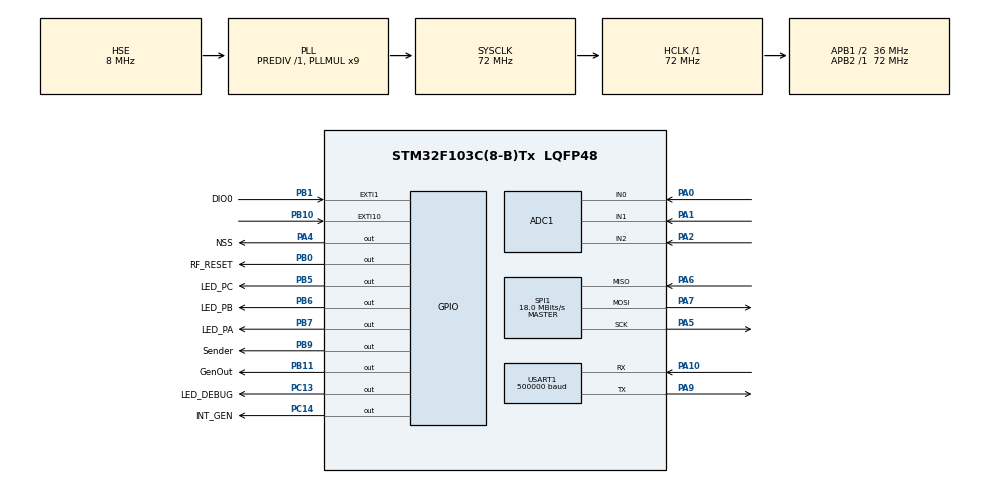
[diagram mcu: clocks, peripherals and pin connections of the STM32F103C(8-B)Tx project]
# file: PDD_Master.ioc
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ADC1.Channel-1\#ChannelRegularConversion=ADC_CHANNEL_0
ADC1.Channel-2\#ChannelRegularConversion=ADC_CHANNEL_1
ADC1.Channel-3\#ChannelRegularConversion=ADC_CHANNEL_2
ADC1.ContinuousConvMode=ENABLE
ADC1.NbrOfConversion=3
ADC1.NbrOfConversionFlag=1
ADC1.Rank-1\#ChannelRegularConversion=1
ADC1.Rank-2\#ChannelRegularConversion=2
ADC1.Rank-3\#ChannelRegularConversion=3
ADC1.SamplingTime-1\#ChannelRegularConversion=ADC_SAMPLETIME_55CYCLES_5
ADC1.SamplingTime-2\#ChannelRegularConversion=ADC_SAMPLETIME_55CYCLES_5
ADC1.SamplingTime-3\#ChannelRegularConversion=ADC_SAMPLETIME_55CYCLES_5
ADC1.master=1
Dma.ADC1.0.Direction=DMA_PERIPH_TO_MEMORY
Dma.ADC1.0.Instance=DMA1_Channel1
Dma.ADC1.0.MemDataAlignment=DMA_MDATAALIGN_HALFWORD
Dma.ADC1.0.MemInc=DMA_MINC_ENABLE
Dma.ADC1.0.Mode=DMA_CIRCULAR
Dma.ADC1.0.PeriphDataAlignment=DMA_PDATAALIGN_HALFWORD
Dma.ADC1.0.PeriphInc=DMA_PINC_DISABLE
Dma.ADC1.0.Priority=DMA_PRIORITY_LOW
Dma.Request0=ADC1
Dma.Request1=USART1_TX
Dma.USART1_TX.1.Direction=DMA_MEMORY_TO_PERIPH
Dma.USART1_TX.1.Instance=DMA1_Channel4
Dma.USART1_TX.1.MemDataAlignment=DMA_MDATAALIGN_BYTE
Dma.USART1_TX.1.MemInc=DMA_MINC_ENABLE
Dma.USART1_TX.1.Mode=DMA_NORMAL
Dma.USART1_TX.1.PeriphDataAlignment=DMA_PDATAALIGN_BYTE
Dma.USART1_TX.1.PeriphInc=DMA_PINC_DISABLE
Dma.USART1_TX.1.Priority=DMA_PRIORITY_LOW
Mcu.Family=STM32F1
Mcu.Name=STM32F103C(8-B)Tx
Mcu.Package=LQFP48
NVIC.DMA1_Channel1_IRQn=true\:0\:0\:false\:false\:true\:false\:true\:true
NVIC.DMA1_Channel4_IRQn=true\:0\:0\:false\:false\:true\:false\:true\:true
NVIC.EXTI15_10_IRQn=true\:0\:0\:false\:false\:true\:true\:true\:true
NVIC.EXTI1_IRQn=true\:0\:0\:false\:false\:true\:true\:true\:true
NVIC.PriorityGroup=NVIC_PRIORITYGROUP_4
NVIC.TIM1_UP_IRQn=true\:0\:0\:true\:false\:true\:true\:true\:true
NVIC.TIM3_IRQn=true\:1\:0\:true\:false\:true\:true\:true\:true
PA0-WKUP.Signal=ADCx_IN0
PA1.Signal=ADCx_IN1
PA10.Mode=Asynchronous
PA10.Signal=USART1_RX
PA13.Mode=Serial_Wire
PA13.Signal=SYS_JTMS-SWDIO
PA14.Mode=Serial_Wire
PA14.Signal=SYS_JTCK-SWCLK
PA2.Signal=ADCx_IN2
PA4.GPIO_Label=NSS
PA4.Signal=GPIO_Output
PA5.Mode=Full_Duplex_Master
PA5.Signal=SPI1_SCK
PA6.Mode=Full_Duplex_Master
PA6.Signal=SPI1_MISO
PA7.Mode=Full_Duplex_Master
PA7.Signal=SPI1_MOSI
PA9.Mode=Asynchronous
PA9.Signal=USART1_TX
PB0.GPIO_Label=RF_RESET
PB0.Signal=GPIO_Output
PB1.GPIO_Label=DIO0
PB1.GPIO_PuPd=GPIO_PULLDOWN
PB1.Signal=GPXTI1
PB10.GPIO_PuPd=GPIO_PULLDOWN
PB10.Signal=GPXTI10
PB11.GPIO_Label=GenOut
PB11.Signal=GPIO_Output
PB5.GPIO_Label=LED_PC
PB5.Signal=GPIO_Output
PB6.GPIO_Label=LED_PB
PB6.Signal=GPIO_Output
PB7.GPIO_Label=LED_PA
PB7.Signal=GPIO_Output
PB9.GPIO_Label=Sender
PB9.Signal=GPIO_Output
PC13-TAMPER-RTC.GPIO_Label=LED_DEBUG
PC13-TAMPER-RTC.Signal=GPIO_Output
PC14-OSC32_IN.GPIO_Label=INT_GEN
PC14-OSC32_IN.Signal=GPIO_Output
PD0-OSC_IN.Mode=HSE-External-Oscillator
PD0-OSC_IN.Signal=RCC_OSC_IN
PD1-OSC_OUT.Mode=HSE-External-Oscillator
PD1-OSC_OUT.Signal=RCC_OSC_OUT
ProjectManager.HeapSize=0x200
ProjectManager.StackSize=0x400
ProjectManager.TargetToolchain=MDK-ARM V5.32
RCC.ADCPresc=RCC_ADCPCLK2_DIV6
RCC.AHBFreq_Value=72000000
RCC.APB1CLKDivider=RCC_HCLK_DIV2
RCC.APB1Freq_Value=36000000
RCC.APB1TimFreq_Value=72000000
RCC.APB2Freq_Value=72000000
RCC.APB2TimFreq_Value=72000000
RCC.HCLKFreq_Value=72000000
RCC.PLLMUL=RCC_PLL_MUL9
RCC.PLLSourceVirtual=RCC_PLLSOURCE_HSE
RCC.SYSCLKFreq_VALUE=72000000
RCC.SYSCLKSource=RCC_SYSCLKSOURCE_PLLCLK
RCC.USBFreq_Value=72000000
SH.ADCx_IN0.0=ADC1_IN0,IN0
SH.ADCx_IN1.0=ADC1_IN1,IN1
SH.ADCx_IN2.0=ADC1_IN2,IN2
SPI1.BaudRatePrescaler=SPI_BAUDRATEPRESCALER_4
SPI1.CalculateBaudRate=18.0 MBits/s
SPI1.Direction=SPI_DIRECTION_2LINES
SPI1.Mode=SPI_MODE_MASTER
SPI1.VirtualType=VM_MASTER
TIM1.AutoReloadPreload=TIM_AUTORELOAD_PRELOAD_ENABLE
TIM1.Period=49
TIM1.Prescaler=71
TIM3.Prescaler=71
USART1.BaudRate=500000
USART1.VirtualMode=VM_ASYNC
VP_TIM1_VS_ClockSourceINT.Mode=Internal
VP_TIM3_VS_ClockSourceINT.Mode=Internal
board=custom

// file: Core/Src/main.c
/* USER CODE BEGIN Header */
/**
  ******************************************************************************
  * @file           : main.c
  * @brief          : Main program body
  ******************************************************************************
  * @attention
  *
  * Copyright (c) 2026 STMicroelectronics.
  * All rights reserved.
  *
  * This software is licensed under terms that can be found in the LICENSE file
  * in the root directory of this software component.
  * If no LICENSE file comes with this software, it is provided AS-IS.
  *
  ******************************************************************************
  */
/* USER CODE END Header */
#include "main.h"

/* USER CODE BEGIN Includes */

#include "LoRa.h"
#include <string.h>

#include <stdio.h>

/* USER CODE END Includes */

/* USER CODE BEGIN PD */

#define ON_LED_DEBUG( )	HAL_GPIO_WritePin(LED_DEBUG_GPIO_Port, LED_DEBUG_Pin, GPIO_PIN_RESET)
#define OFF_LED_DEBUG( )	HAL_GPIO_WritePin(LED_DEBUG_GPIO_Port, LED_DEBUG_Pin, GPIO_PIN_SET)

#define ON_LED_PA( )	HAL_GPIO_WritePin(LED_PA_GPIO_Port, LED_PA_Pin, GPIO_PIN_SET);
#define OFF_LED_PA( )	HAL_GPIO_WritePin(LED_PA_GPIO_Port, LED_PA_Pin, GPIO_PIN_RESET);

#define ON_LED_PB( )	HAL_GPIO_WritePin(LED_PB_GPIO_Port, LED_PB_Pin, GPIO_PIN_SET);
#define OFF_LED_PB( )	HAL_GPIO_WritePin(LED_PB_GPIO_Port, LED_PB_Pin, GPIO_PIN_RESET);

#define ON_LED_PC( )	HAL_GPIO_WritePin(LED_PC_GPIO_Port, LED_PC_Pin, GPIO_PIN_SET);
#define OFF_LED_PC( )	HAL_GPIO_WritePin(LED_PC_GPIO_Port, LED_PC_Pin, GPIO_PIN_RESET);

#define MA_SIZE 5

#define ZERO_PA 1972
#define ZERO_PB 1973
#define ZERO_PC 1970

typedef struct
{
    uint16_t buf[MA_SIZE];
    uint32_t sum;
    uint8_t index;
} MA_Filter_t;

/* USER CODE END PD */

ADC_HandleTypeDef hadc1;
DMA_HandleTypeDef hdma_adc1;

SPI_HandleTypeDef hspi1;

TIM_HandleTypeDef htim1;
TIM_HandleTypeDef htim3;

UART_HandleTypeDef huart1;
DMA_HandleTypeDef hdma_usart1_tx;

/* USER CODE BEGIN PV */

uint32_t tick = 0;
volatile uint32_t cnt_timetick = 0;

LoRa vLoRa;

uint8_t TX_Lora_buff[12];
uint8_t RX_LoRa_buff[12];

uint8_t send_ok = 0;
uint16_t num_RX_irq_LoRa = 0;
uint8_t flag_Lora_Rx = 0;

uint16_t config_lora = 0xFA;

uint8_t cnt = 0;

uint16_t sendOK = 0;
uint16_t recOK = 0;

uint32_t cycle = 40000;

volatile uint32_t last_zcA = 0;
volatile uint32_t now_zcA = 0;
volatile uint32_t interval_zcA = 0;

volatile uint32_t last_zcB = 0;
volatile uint32_t now_zcB = 0;
volatile uint32_t interval_zcB = 0;

volatile uint32_t last_zcC = 0;
volatile uint32_t now_zcC = 0;
volatile uint32_t interval_zcC = 0;

uint16_t delta_pB = 0, delta_pC = 0;

		// uint8_t phase_detected = 0;

volatile uint8_t flag_cnt_50us = 0;
volatile uint8_t flag_enable_zc = 0;

// sender
volatile uint8_t trigger_send_lora = 0;

volatile uint16_t adc_raw[3];

volatile uint16_t adc_filtered_pA = 0;
  volatile uint16_t adc_filtered_pB = 0;
    volatile uint16_t adc_filtered_pC = 0;

volatile uint16_t pA_cur = 0;
volatile uint16_t pA_prev = 0;
  volatile uint16_t pB_cur = 0;
  volatile uint16_t pB_prev = 0;
    volatile uint16_t pC_cur = 0;
    volatile uint16_t pC_prev = 0;

volatile uint32_t ovf_tim3 = 0;

uint8_t flag_tx_log = 0;
uint32_t cnt_log = 0;

char uart_tx_log[100];

uint32_t stt = 0;

uint16_t log_buff[1000];
uint16_t log_index = 0;

volatile uint8_t flag_get_zero = 0;
uint16_t offset_ZpA = 0;
  uint16_t offset_ZpB = 0;
    uint16_t offset_ZpC = 0;

MA_Filter_t adcFilter_pA;
  MA_Filter_t adcFilter_pB;
    MA_Filter_t adcFilter_pC;

	uint16_t cnt_detect_pA = 1;
		uint16_t cnt_detect_pB = 1;
	    uint16_t cnt_detect_pC = 1;

uint32_t last_send = 0;
uint32_t now_send = 0;
uint32_t interval_send = 0;
uint32_t interval_send_mod = 0;
uint32_t interval_send_div = 0;

/* USER CODE END PV */

void SystemClock_Config(void);
static void MX_GPIO_Init(void);
static void MX_DMA_Init(void);
static void MX_TIM1_Init(void);
static void MX_USART1_UART_Init(void);
static void MX_ADC1_Init(void);
static void MX_SPI1_Init(void);
static void MX_TIM3_Init(void);

/* USER CODE BEGIN 0 */
uint16_t MA_Update(MA_Filter_t *f, uint16_t sample)
{
    f->sum -= f->buf[f->index];
    f->buf[f->index] = sample;
    f->sum += sample;
    f->index++;

    if(f->index >= MA_SIZE)
        f->index = 0;

    return f->sum / MA_SIZE;
}

static inline uint32_t GetTimeUs(){
  uint32_t ovf1, ovf2;
  uint32_t cnt;

  do {
    ovf1 = ovf_tim3;
    cnt = TIM3->CNT;
    ovf2 = ovf_tim3;
  } while (ovf1 != ovf2); // Guard against rollover during reading

  return (ovf1 << 16) + cnt;
}

void HAL_TIM_PeriodElapsedCallback(TIM_HandleTypeDef *htim)
{
  if (htim->Instance == TIM1) //50us
  {
    cnt_timetick++;
		flag_cnt_50us++;

		if(flag_cnt_50us >= 2)    //100us
    {
      flag_cnt_50us = 0;
      adc_filtered_pA = MA_Update(&adcFilter_pA, adc_raw[0]);
			adc_filtered_pB = MA_Update(&adcFilter_pB, adc_raw[1]);
      adc_filtered_pC = MA_Update(&adcFilter_pC, adc_raw[2]);

      // adc_filtered_pA = adc_raw[0];
			// adc_filtered_pB = adc_raw[1];
      // adc_filtered_pC = adc_raw[2];

      pA_cur = adc_filtered_pA;
			pB_cur = adc_filtered_pB;
			pC_cur = adc_filtered_pC;

      // catch ZC phase A
      if(pA_cur != 0 && pA_prev != 0 && pA_prev <= ZERO_PA && pA_cur > ZERO_PA)
      {
				now_zcA = GetTimeUs();
				cnt_detect_pA = 10000; // 1s
        delta_pB = (now_zcA - last_zcB);
				delta_pC = (now_zcA - last_zcC);

        while(delta_pB > 20000) delta_pB -= 20000;
        while(delta_pC > 20000) delta_pC -= 20000;

				if(flag_enable_zc == 1 && cnt_detect_pB > 0 && cnt_detect_pC > 0){
					trigger_send_lora = 1;
					flag_enable_zc = 0;
          now_send = GetTimeUs();
          interval_send = now_send - last_send;
          last_send = now_send;
				}

				 interval_zcA = now_zcA - last_zcA;
				 last_zcA = now_zcA;
      }

      // catch ZC phase B
			if(pB_cur != 0 && pB_prev != 0 && pB_prev <= ZERO_PB && pB_cur > ZERO_PB)
      {
				now_zcB = GetTimeUs();
        cnt_detect_pB = 10000; // 1s
        interval_zcB = now_zcB - last_zcB;
        last_zcB = now_zcB;
			}

      // catch ZC phase C
			if(pC_cur != 0 && pC_prev != 0 && pC_prev <= ZERO_PC && pC_cur > ZERO_PC)
      {
				now_zcC = GetTimeUs();
				cnt_detect_pC = 10000; // 1s
				interval_zcC = now_zcC - last_zcC;
        last_zcC = now_zcC;
			}

			pA_prev = pA_cur;
			pB_prev = pB_cur;
			pC_prev = pC_cur;

    }

    if(cnt_detect_pA > 0) cnt_detect_pA--;
    if(cnt_detect_pB > 0) cnt_detect_pB--;
    if(cnt_detect_pC > 0) cnt_detect_pC--;
  }

  if(htim->Instance == TIM3){
    ovf_tim3++;
  }
}

void HAL_GPIO_EXTI_Callback(uint16_t GPIO_Pin)
	{
		/* Prevent unused argument(s) compilation warning */
		UNUSED(GPIO_Pin);

//		if(GPIO_Pin == vLoRa.DIO0_pin)
//		{
//			num_RX_irq_LoRa++;
//			flag_Lora_Rx = 1;
//		}

	}

void MA_Init(MA_Filter_t *f, uint16_t init_value)
{
    f->sum = 0;
    f->index = 0;

    for(int i=0; i<MA_SIZE; i++)
    {
        f->buf[i] = init_value;
        f->sum += init_value;
    }
}

/* USER CODE END 0 */

int main(void)
{

  /* MCU Configuration--------------------------------------------------------*/

  /* Reset of all peripherals, Initializes the Flash interface and the Systick. */
  HAL_Init();

  /* Configure the system clock */
  SystemClock_Config();

  /* Initialize all configured peripherals */
  MX_GPIO_Init();
  MX_DMA_Init();
  MX_TIM1_Init();
  MX_USART1_UART_Init();
  MX_ADC1_Init();
  MX_SPI1_Init();
  MX_TIM3_Init();
  /* USER CODE BEGIN 2 */
	HAL_GPIO_WritePin(LED_DEBUG_GPIO_Port, LED_DEBUG_Pin, GPIO_PIN_RESET);

  ON_LED_PA();
    ON_LED_PB();
      ON_LED_PC();

	Lora_Init(&vLoRa, &hspi1, 808);
	LoRa_reset(&vLoRa);

	config_lora = LoRa_Config(&vLoRa);

	while(config_lora!=0x00C8){
			HAL_GPIO_WritePin(LED_DEBUG_GPIO_Port, LED_DEBUG_Pin, GPIO_PIN_RESET);
	}
	HAL_GPIO_WritePin(LED_DEBUG_GPIO_Port, LED_DEBUG_Pin, GPIO_PIN_SET);

	LoRa_startReceiving(&vLoRa);

  HAL_TIM_Base_Start_IT(&htim1);
  HAL_TIM_Base_Start_IT(&htim3);

  HAL_ADCEx_Calibration_Start(&hadc1);
	HAL_ADC_Start_DMA(&hadc1, (uint32_t*)&adc_raw, 3);

  MA_Init(&adcFilter_pA, ZERO_PA);
	  MA_Init(&adcFilter_pB, ZERO_PB);
	    MA_Init(&adcFilter_pC, ZERO_PC);

	HAL_GPIO_WritePin(GenOut_GPIO_Port, GenOut_Pin, GPIO_PIN_RESET);

	OFF_LED_PA();
		OFF_LED_PB();
			OFF_LED_PC();

  /* USER CODE END 2 */

  /* Infinite loop */
  while (1)
  {

    /* USER CODE BEGIN 3 */
		tick++;

		if(cnt_timetick >= cycle)
    {
      cnt_timetick = 0;
			//HAL_GPIO_TogglePin(LED_DEBUG_GPIO_Port, LED_DEBUG_Pin);
      flag_enable_zc = 1;
    }

		if(flag_get_zero){
			flag_get_zero = 0;

			uint32_t sumA = 0;
				uint32_t sumB = 0;
						uint32_t sumC= 0;
			for(uint16_t i=0; i<1000; i++){
				sumA+= adc_raw[0];
					sumB+= adc_raw[1];
						sumC+= adc_raw[2];
				HAL_Delay(1);
			}
			offset_ZpA = sumA/1000;
				offset_ZpB = sumB/1000;
					offset_ZpC = sumC/1000;
		}

				// code mach sender
    if(trigger_send_lora == 1)
    {
      HAL_GPIO_WritePin(GenOut_GPIO_Port, GenOut_Pin, GPIO_PIN_SET);

      TX_Lora_buff[0] = 0xAA;
      TX_Lora_buff[1] = 0;
      TX_Lora_buff[2] = delta_pB/100;
      TX_Lora_buff[3] = delta_pC/100;
      TX_Lora_buff[4] = TX_Lora_buff[0] + TX_Lora_buff[1] + TX_Lora_buff[2] + TX_Lora_buff[3];

			send_ok = LoRa_transmit(&vLoRa, (uint8_t*)TX_Lora_buff, 5, 10000000);
			HAL_GPIO_WritePin(GenOut_GPIO_Port, GenOut_Pin, GPIO_PIN_RESET);

      interval_send_mod = interval_send % 20000;
      interval_send_div = interval_send / 20000;

			if(send_ok == 1){
				 HAL_GPIO_TogglePin(LED_DEBUG_GPIO_Port, LED_DEBUG_Pin);
					sendOK++;
			}
			trigger_send_lora = 0;
    }

    if(cnt_detect_pA > 0){
      ON_LED_PA();
    }
    else{
      OFF_LED_PA();
    }
    if(cnt_detect_pB > 0){
      ON_LED_PB();
    }
    else{
      OFF_LED_PB();
    }
    if(cnt_detect_pC > 0){
      ON_LED_PC();
    }
    else{
      OFF_LED_PC();
    }

//		if(flag_tx_log == 1 && cnt_log < 20000){
//			cnt_log++;
//			flag_tx_log = 0;
//			//sprintf(uart_tx_log, "%u %u %u %d\n",++stt, adc_raw_pA, adc_filtered_pA, interval_zcA);
//			sprintf(uart_tx_log, "%u %u %u %u\n",++stt, adc_raw[0], adc_raw[1], adc_raw[2]);
//			//sprintf(uart_tx_log, "%u %u %u %d\n",++stt, adc_filtered_pA, adc_filtered_pB, adc_filtered_pC);

//			HAL_UART_Transmit_DMA(&huart1, (uint8_t*)uart_tx_log, strlen(uart_tx_log));
//		}

//			if(flag_Lora_Rx == 1){
//				flag_Lora_Rx = 0;
//
//				LoRa_receive(&vLoRa, (uint8_t*)RX_LoRa, 12);
//
//				if(memcmp(RX_LoRa, TX_toRB, 12) == 0){
//					HAL_GPIO_TogglePin(LED_DEBUG_GPIO_Port, LED_DEBUG_Pin);
//					interval = TIM3->CNT - start;;
//					//interval = HAL_GetTick() - start;
//					recOK++;
//				}
//			}
  }
  /* USER CODE END 3 */
}

void SystemClock_Config(void)
{
  RCC_OscInitTypeDef RCC_OscInitStruct = {0};
  RCC_ClkInitTypeDef RCC_ClkInitStruct = {0};
  RCC_PeriphCLKInitTypeDef PeriphClkInit = {0};

  /** Initializes the RCC Oscillators according to the specified parameters
  * in the RCC_OscInitTypeDef structure.
  */
  RCC_OscInitStruct.OscillatorType = RCC_OSCILLATORTYPE_HSE;
  RCC_OscInitStruct.HSEState = RCC_HSE_ON;
  RCC_OscInitStruct.HSEPredivValue = RCC_HSE_PREDIV_DIV1;
  RCC_OscInitStruct.HSIState = RCC_HSI_ON;
  RCC_OscInitStruct.PLL.PLLState = RCC_PLL_ON;
  RCC_OscInitStruct.PLL.PLLSource = RCC_PLLSOURCE_HSE;
  RCC_OscInitStruct.PLL.PLLMUL = RCC_PLL_MUL9;
  if (HAL_RCC_OscConfig(&RCC_OscInitStruct) != HAL_OK)
  {
    Error_Handler();
  }

  /** Initializes the CPU, AHB and APB buses clocks
  */
  RCC_ClkInitStruct.ClockType = RCC_CLOCKTYPE_HCLK|RCC_CLOCKTYPE_SYSCLK
                              |RCC_CLOCKTYPE_PCLK1|RCC_CLOCKTYPE_PCLK2;
  RCC_ClkInitStruct.SYSCLKSource = RCC_SYSCLKSOURCE_PLLCLK;
  RCC_ClkInitStruct.AHBCLKDivider = RCC_SYSCLK_DIV1;
  RCC_ClkInitStruct.APB1CLKDivider = RCC_HCLK_DIV2;
  RCC_ClkInitStruct.APB2CLKDivider = RCC_HCLK_DIV1;

  if (HAL_RCC_ClockConfig(&RCC_ClkInitStruct, FLASH_LATENCY_2) != HAL_OK)
  {
    Error_Handler();
  }
  PeriphClkInit.PeriphClockSelection = RCC_PERIPHCLK_ADC;
  PeriphClkInit.AdcClockSelection = RCC_ADCPCLK2_DIV6;
  if (HAL_RCCEx_PeriphCLKConfig(&PeriphClkInit) != HAL_OK)
  {
    Error_Handler();
  }
}

static void MX_ADC1_Init(void)
{

  ADC_ChannelConfTypeDef sConfig = {0};

  /** Common config
  */
  hadc1.Instance = ADC1;
  hadc1.Init.ScanConvMode = ADC_SCAN_ENABLE;
  hadc1.Init.ContinuousConvMode = ENABLE;
  hadc1.Init.DiscontinuousConvMode = DISABLE;
  hadc1.Init.ExternalTrigConv = ADC_SOFTWARE_START;
  hadc1.Init.DataAlign = ADC_DATAALIGN_RIGHT;
  hadc1.Init.NbrOfConversion = 3;
  if (HAL_ADC_Init(&hadc1) != HAL_OK)
  {
    Error_Handler();
  }

  /** Configure Regular Channel
  */
  sConfig.Channel = ADC_CHANNEL_0;
  sConfig.Rank = ADC_REGULAR_RANK_1;
  sConfig.SamplingTime = ADC_SAMPLETIME_55CYCLES_5;
  if (HAL_ADC_ConfigChannel(&hadc1, &sConfig) != HAL_OK)
  {
    Error_Handler();
  }

  /** Configure Regular Channel
  */
  sConfig.Channel = ADC_CHANNEL_1;
  sConfig.Rank = ADC_REGULAR_RANK_2;
  if (HAL_ADC_ConfigChannel(&hadc1, &sConfig) != HAL_OK)
  {
    Error_Handler();
  }

  /** Configure Regular Channel
  */
  sConfig.Channel = ADC_CHANNEL_2;
  sConfig.Rank = ADC_REGULAR_RANK_3;
  if (HAL_ADC_ConfigChannel(&hadc1, &sConfig) != HAL_OK)
  {
    Error_Handler();
  }

}

static void MX_SPI1_Init(void)
{

  /* SPI1 parameter configuration*/
  hspi1.Instance = SPI1;
  hspi1.Init.Mode = SPI_MODE_MASTER;
  hspi1.Init.Direction = SPI_DIRECTION_2LINES;
  hspi1.Init.DataSize = SPI_DATASIZE_8BIT;
  hspi1.Init.CLKPolarity = SPI_POLARITY_LOW;
  hspi1.Init.CLKPhase = SPI_PHASE_1EDGE;
  hspi1.Init.NSS = SPI_NSS_SOFT;
  hspi1.Init.BaudRatePrescaler = SPI_BAUDRATEPRESCALER_4;
  hspi1.Init.FirstBit = SPI_FIRSTBIT_MSB;
  hspi1.Init.TIMode = SPI_TIMODE_DISABLE;
  hspi1.Init.CRCCalculation = SPI_CRCCALCULATION_DISABLE;
  hspi1.Init.CRCPolynomial = 10;
  if (HAL_SPI_Init(&hspi1) != HAL_OK)
  {
    Error_Handler();
  }

}

static void MX_TIM1_Init(void)
{

  TIM_ClockConfigTypeDef sClockSourceConfig = {0};
  TIM_MasterConfigTypeDef sMasterConfig = {0};

  htim1.Instance = TIM1;
  htim1.Init.Prescaler = 71;
  htim1.Init.CounterMode = TIM_COUNTERMODE_UP;
  htim1.Init.Period = 49;
  htim1.Init.ClockDivision = TIM_CLOCKDIVISION_DIV1;
  htim1.Init.RepetitionCounter = 0;
  htim1.Init.AutoReloadPreload = TIM_AUTORELOAD_PRELOAD_ENABLE;
  if (HAL_TIM_Base_Init(&htim1) != HAL_OK)
  {
    Error_Handler();
  }
  sClockSourceConfig.ClockSource = TIM_CLOCKSOURCE_INTERNAL;
  if (HAL_TIM_ConfigClockSource(&htim1, &sClockSourceConfig) != HAL_OK)
  {
    Error_Handler();
  }
  sMasterConfig.MasterOutputTrigger = TIM_TRGO_RESET;
  sMasterConfig.MasterSlaveMode = TIM_MASTERSLAVEMODE_DISABLE;
  if (HAL_TIMEx_MasterConfigSynchronization(&htim1, &sMasterConfig) != HAL_OK)
  {
    Error_Handler();
  }

}

static void MX_TIM3_Init(void)
{

  TIM_ClockConfigTypeDef sClockSourceConfig = {0};
  TIM_MasterConfigTypeDef sMasterConfig = {0};

  htim3.Instance = TIM3;
  htim3.Init.Prescaler = 71;
  htim3.Init.CounterMode = TIM_COUNTERMODE_UP;
  htim3.Init.Period = 65535;
  htim3.Init.ClockDivision = TIM_CLOCKDIVISION_DIV1;
  htim3.Init.AutoReloadPreload = TIM_AUTORELOAD_PRELOAD_DISABLE;
  if (HAL_TIM_Base_Init(&htim3) != HAL_OK)
  {
    Error_Handler();
  }
  sClockSourceConfig.ClockSource = TIM_CLOCKSOURCE_INTERNAL;
  if (HAL_TIM_ConfigClockSource(&htim3, &sClockSourceConfig) != HAL_OK)
  {
    Error_Handler();
  }
  sMasterConfig.MasterOutputTrigger = TIM_TRGO_RESET;
  sMasterConfig.MasterSlaveMode = TIM_MASTERSLAVEMODE_DISABLE;
  if (HAL_TIMEx_MasterConfigSynchronization(&htim3, &sMasterConfig) != HAL_OK)
  {
    Error_Handler();
  }

}

static void MX_USART1_UART_Init(void)
{

  huart1.Instance = USART1;
  huart1.Init.BaudRate = 500000;
  huart1.Init.WordLength = UART_WORDLENGTH_8B;
  huart1.Init.StopBits = UART_STOPBITS_1;
  huart1.Init.Parity = UART_PARITY_NONE;
  huart1.Init.Mode = UART_MODE_TX_RX;
  huart1.Init.HwFlowCtl = UART_HWCONTROL_NONE;
  huart1.Init.OverSampling = UART_OVERSAMPLING_16;
  if (HAL_UART_Init(&huart1) != HAL_OK)
  {
    Error_Handler();
  }

}

static void MX_DMA_Init(void)
{

  /* DMA controller clock enable */
  __HAL_RCC_DMA1_CLK_ENABLE();

  /* DMA interrupt init */
  /* DMA1_Channel1_IRQn interrupt configuration */
  HAL_NVIC_SetPriority(DMA1_Channel1_IRQn, 0, 0);
  HAL_NVIC_EnableIRQ(DMA1_Channel1_IRQn);
  /* DMA1_Channel4_IRQn interrupt configuration */
  HAL_NVIC_SetPriority(DMA1_Channel4_IRQn, 0, 0);
  HAL_NVIC_EnableIRQ(DMA1_Channel4_IRQn);

}

static void MX_GPIO_Init(void)
{
  GPIO_InitTypeDef GPIO_InitStruct = {0};

  /* GPIO Ports Clock Enable */
  __HAL_RCC_GPIOC_CLK_ENABLE();
  __HAL_RCC_GPIOD_CLK_ENABLE();
  __HAL_RCC_GPIOA_CLK_ENABLE();
  __HAL_RCC_GPIOB_CLK_ENABLE();

  /*Configure GPIO pin Output Level */
  HAL_GPIO_WritePin(GPIOC, LED_DEBUG_Pin|INT_GEN_Pin, GPIO_PIN_RESET);

  /*Configure GPIO pin Output Level */
  HAL_GPIO_WritePin(NSS_GPIO_Port, NSS_Pin, GPIO_PIN_RESET);

  /*Configure GPIO pin Output Level */
  HAL_GPIO_WritePin(GPIOB, RF_RESET_Pin|GenOut_Pin|LED_PC_Pin|LED_PB_Pin
                          |LED_PA_Pin|Sender_Pin, GPIO_PIN_RESET);

  /*Configure GPIO pins : LED_DEBUG_Pin INT_GEN_Pin */
  GPIO_InitStruct.Pin = LED_DEBUG_Pin|INT_GEN_Pin;
  GPIO_InitStruct.Mode = GPIO_MODE_OUTPUT_PP;
  GPIO_InitStruct.Pull = GPIO_NOPULL;
  GPIO_InitStruct.Speed = GPIO_SPEED_FREQ_LOW;
  HAL_GPIO_Init(GPIOC, &GPIO_InitStruct);

  /*Configure GPIO pin : NSS_Pin */
  GPIO_InitStruct.Pin = NSS_Pin;
  GPIO_InitStruct.Mode = GPIO_MODE_OUTPUT_PP;
  GPIO_InitStruct.Pull = GPIO_NOPULL;
  GPIO_InitStruct.Speed = GPIO_SPEED_FREQ_LOW;
  HAL_GPIO_Init(NSS_GPIO_Port, &GPIO_InitStruct);

  /*Configure GPIO pins : RF_RESET_Pin GenOut_Pin LED_PC_Pin LED_PB_Pin
                           LED_PA_Pin Sender_Pin */
  GPIO_InitStruct.Pin = RF_RESET_Pin|GenOut_Pin|LED_PC_Pin|LED_PB_Pin
                          |LED_PA_Pin|Sender_Pin;
  GPIO_InitStruct.Mode = GPIO_MODE_OUTPUT_PP;
  GPIO_InitStruct.Pull = GPIO_NOPULL;
  GPIO_InitStruct.Speed = GPIO_SPEED_FREQ_LOW;
  HAL_GPIO_Init(GPIOB, &GPIO_InitStruct);

  /*Configure GPIO pins : DIO0_Pin PB10 */
  GPIO_InitStruct.Pin = DIO0_Pin|GPIO_PIN_10;
  GPIO_InitStruct.Mode = GPIO_MODE_IT_RISING;
  GPIO_InitStruct.Pull = GPIO_PULLDOWN;
  HAL_GPIO_Init(GPIOB, &GPIO_InitStruct);

  /* EXTI interrupt init*/
  HAL_NVIC_SetPriority(EXTI1_IRQn, 0, 0);
  HAL_NVIC_EnableIRQ(EXTI1_IRQn);

  HAL_NVIC_SetPriority(EXTI15_10_IRQn, 0, 0);
  HAL_NVIC_EnableIRQ(EXTI15_10_IRQn);

}

void Error_Handler(void)
{
  __disable_irq();
  while (1)
  {
  }
}
